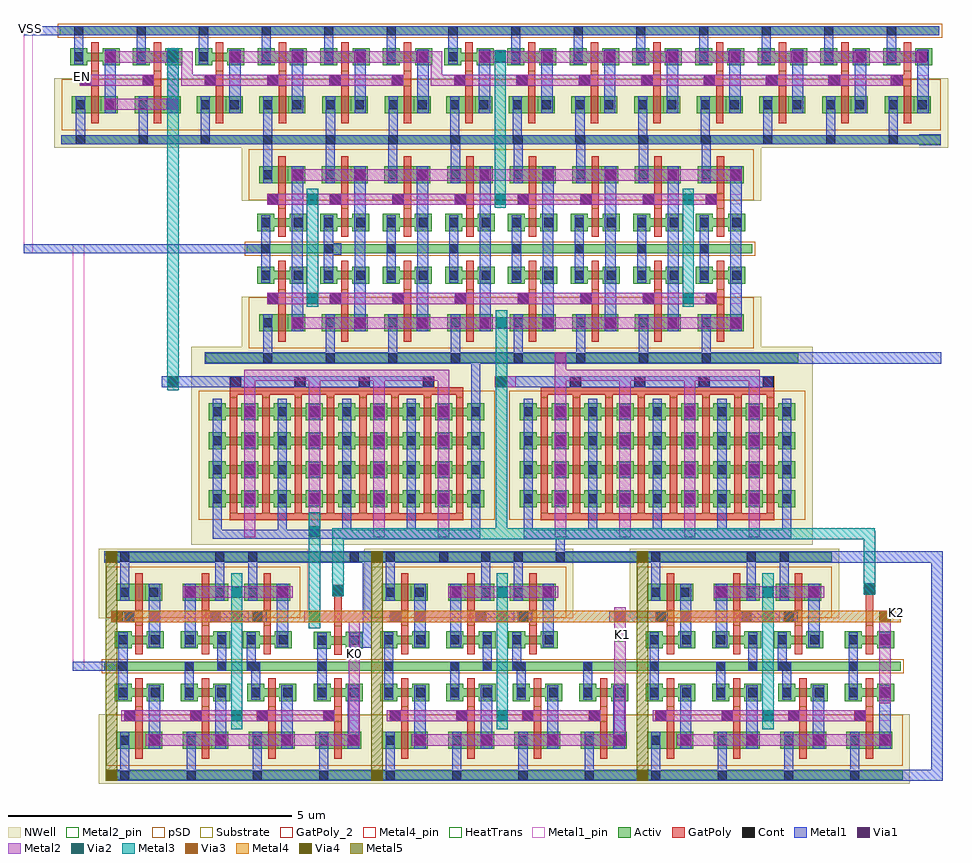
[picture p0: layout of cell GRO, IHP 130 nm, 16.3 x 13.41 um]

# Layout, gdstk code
from math import pi, radians
import gdstk
lib = gdstk.Library(unit=1e-6, precision=5e-09)
def R(c, l, rs):  # rectangles x0, y0, x1, y1
    for r in rs: c.add(gdstk.rectangle(r[:2], r[2:], *l))
def A(c, l, x, y, w, h, nx, ny, dx, dy):  # array of equal rectangles
    R(c, l, [(x+i*dx, y+j*dy, x+i*dx+w, y+j*dy+h) for i in range(nx) for j in range(ny)])
def P(c, l, *ps):  # polygons
    for p in ps: c.add(gdstk.Polygon(p, *l))
Activ = (1, 0)
GatPoly = (5, 0)
GatPoly_2 = (5, 2)
Cont = (6, 0)
Metal1 = (8, 0)
Metal1_pin = (8, 2)
Metal2 = (10, 0)
Metal2_pin = (10, 2)
pSD = (14, 0)
Via1 = (19, 0)
Via2 = (29, 0)
Metal3 = (30, 0)
NWell = (31, 0)
Substrate = (40, 0)
Via3 = (49, 0)
Metal4 = (50, 0)
Metal4_pin = (50, 2)
HeatTrans = (51, 0)
Via4 = (66, 0)
Metal5 = (67, 0)

pmos = lib.new_cell('pmos')
R(pmos, Activ, [(0,0,0.3,0.3), (0.57,0,0.87,0.3), (0,0.075,0.87,0.225)])
R(pmos, GatPoly, [(0.37,-0.105,0.5,0.405), (0.37,-0.105,0.5,0.405)])
R(pmos, Cont, [(0.07,0.07,0.23,0.23), (0.64,0.07,0.8,0.23)])
R(pmos, Metal1, [(0.07,0.02,0.23,0.28), (0.07,0.02,0.23,0.28), (0.64,0.02,0.8,0.28), (0.64,0.02,0.8,0.28)])
R(pmos, pSD, [(-0.18,-0.225,1.05,0.525)])
R(pmos, NWell, [(-0.31,-0.31,1.18,0.61)])
R(pmos, Substrate, [(0.57,0,0.87,0.3)])
R(pmos, HeatTrans, [(0.37,-0.105,0.5,0.405)])
pmos.add(gdstk.Label('pmos', (0.435,0.15), layer=63, texttype=0))
pmos.add(gdstk.Label('pmos', (0.435,0.15), layer=51, texttype=0))

m1_routed = lib.new_cell('M1_routed')
R(m1_routed, GatPoly, [(0.37,0.405,0.5,0.45)])
R(m1_routed, Metal1, [(0.07,-0.555,0.23,0.38), (0.62,0.02,0.82,0.28)])
R(m1_routed, Metal2, [(0.62,-0.53,0.82,0.895)])
R(m1_routed, Via1, [(0.625,0.055,0.815,0.245)])
m1_routed.add(gdstk.Reference(pmos, (0,0)))

m1_no_routed = lib.new_cell('M1_no_routed')
r = gdstk.Reference(m1_routed, (0,0)); r.repetition = gdstk.Repetition(4, 4, v1=(1.14,0), v2=(0,0.51)); m1_no_routed.add(r)
r = gdstk.Reference(m1_routed, (4.86,0), rotation=pi, x_reflection=True); r.repetition = gdstk.Repetition(4, 4, v1=(-1.14,0), v2=(0,0.51)); m1_no_routed.add(r)

m1_routings_gatevia = lib.new_cell('M1_routings_GateVia')
R(m1_routings_gatevia, GatPoly, [(0.68,2.42,0.88,2.62), (0.68,2.42,0.88,2.62)])
R(m1_routings_gatevia, Cont, [(0.685,2.425,0.875,2.615)])
R(m1_routings_gatevia, Metal1, [(0.705,2.44,0.86,2.6), (0.705,2.44,0.86,2.6)])

m1_4 = lib.new_cell('M1_4')
R(m1_4, Activ, [(0.27,-0.65,5.08,-0.49), (0.255,2.86,5.05,3.02)])
R(m1_4, GatPoly, [(0.68,0.075,4.8,0.205), (0.68,2.29,4.8,2.42)])
R(m1_4, Metal1, [(0.38,-0.245,5.1,-0.085), (0.705,2.42,4.265,2.62)])
R(m1_4, Metal2, [(0.93,2.535,4.55,2.735)])
R(m1_4, NWell, [(0,-0.35,5.48,0), (0,2.45,5.48,3.14)])
m1_4.add(gdstk.Reference(m1_no_routed, (0.31,0.31)))
r = gdstk.Reference(m1_routings_gatevia, (0,0)); r.repetition = gdstk.Repetition(4, 1, v1=(1.135,0), v2=(0,0)); m1_4.add(r)

nmos = lib.new_cell('nmos')
R(nmos, Activ, [(0,-0.05,0.3,0.25), (0.57,-0.05,0.87,0.25), (0,0.025,0.87,0.175)])
R(nmos, GatPoly, [(0.37,-0.155,0.5,0.355)])
R(nmos, GatPoly_2, [(0.37,-0.155,0.5,0.355)])
R(nmos, Cont, [(0.07,0.02,0.23,0.18), (0.64,0.02,0.8,0.18)])
R(nmos, Metal1, [(0.07,-0.03,0.23,0.23), (0.64,-0.03,0.8,0.23)])
R(nmos, Metal1_pin, [(0.07,-0.03,0.23,0.23), (0.64,-0.03,0.8,0.23)])
R(nmos, HeatTrans, [(0.37,-0.155,0.5,0.355)])
nmos.add(gdstk.Label('nmos', (0.435,0.1), layer=63, texttype=0))
nmos.add(gdstk.Label('nmos', (0.435,0.1), layer=51, texttype=0))

pmos_1 = lib.new_cell('pmos$1')
R(pmos_1, Activ, [(0,0,0.3,0.3), (0,0,0.81,0.3), (0.51,0,0.81,0.3)])
R(pmos_1, GatPoly, [(0.34,-0.18,0.47,0.48), (0.34,-0.18,0.47,0.48)])
R(pmos_1, Cont, [(0.07,0.07,0.23,0.23), (0.58,0.07,0.74,0.23)])
R(pmos_1, Metal1, [(0.07,0,0.23,0.3), (0.07,0,0.23,0.3), (0.58,0,0.74,0.3), (0.58,0,0.74,0.3)])
R(pmos_1, pSD, [(-0.18,-0.3,0.99,0.6)])
R(pmos_1, NWell, [(-0.31,-0.31,1.12,0.61)])
R(pmos_1, Substrate, [(0.51,0,0.81,0.3)])
R(pmos_1, HeatTrans, [(0.34,-0.18,0.47,0.48)])
pmos_1.add(gdstk.Label('pmos', (0.405,0.15), layer=63, texttype=0))
pmos_1.add(gdstk.Label('pmos', (0.405,0.15), layer=51, texttype=0))

inv_d1 = lib.new_cell('INV_D1')
R(inv_d1, Activ, [(-0.63,-1.05,0.545,-0.89), (-0.6,0.875,0.575,1.035)])
R(inv_d1, GatPoly, [(-0.075,-0.25,0.055,0.005), (-0.275,-0.195,-0.075,0.005)])
R(inv_d1, Cont, [(-0.375,-1.05,-0.215,-0.89), (-0.255,-0.175,-0.095,-0.015), (-0.345,0.875,-0.185,1.035)])
R(inv_d1, Metal1, [(-0.375,-1.05,-0.215,-0.635), (0.16,-0.635,0.36,0.485), (-0.255,-0.175,-0.095,-0.015), (-0.345,0.485,-0.185,1.035), (-0.6,0.875,0.575,1.035)])
R(inv_d1, Metal1_pin, [(-0.375,-1.05,-0.215,-0.89), (0.165,-0.185,0.355,-0.005), (-0.255,-0.175,-0.095,-0.015), (-0.345,0.875,-0.185,1.035)])
R(inv_d1, pSD, [(-0.67,-1.095,0.6,-0.845)])
R(inv_d1, NWell, [(-0.725,0.795,0.705,1.1)])
inv_d1.add(gdstk.Reference(nmos, (-0.445,-0.605)))
inv_d1.add(gdstk.Reference(pmos_1, (-0.415,0.185)))
inv_d1.add(gdstk.Label('VIN', (-0.145,-0.035), layer=8, texttype=2))
inv_d1.add(gdstk.Label('VSS', (-0.26,-0.915), layer=8, texttype=2))
inv_d1.add(gdstk.Label('VOUT', (0.305,-0.06), layer=8, texttype=2))

gro_routings_via1 = lib.new_cell('GRO_routings_Via1')
R(gro_routings_via1, Metal1, [(1.21,-3.09,1.41,-2.89)])
R(gro_routings_via1, Metal2, [(1.21,-3.09,1.41,-2.89)])
R(gro_routings_via1, Via1, [(1.215,-3.085,1.405,-2.895)])

c_x5 = lib.new_cell('x5')
R(c_x5, Activ, [(0.335,1.125,1.51,1.285)])
R(c_x5, Metal1, [(-0.8,-0.8,1.48,-0.64), (-0.77,1.125,1.51,1.285)])
R(c_x5, Metal2, [(-0.445,0.055,0.855,0.255), (-0.01,0.48,1.29,0.68)])
r = gdstk.Reference(inv_d1, (-0.17,0.25)); r.repetition = gdstk.Repetition(2, 1, v1=(1.105,0), v2=(0,0)); c_x5.add(r)
r = gdstk.Reference(gro_routings_via1, (-1.22,3.57)); r.repetition = gdstk.Repetition(2, 1, v1=(1.1,0), v2=(0,0)); c_x5.add(r)
r = gdstk.Reference(gro_routings_via1, (-1.22,3.57)); r.repetition = gdstk.Repetition(2, 1, v1=(1.1,0), v2=(0,0)); c_x5.add(r)
r = gdstk.Reference(gro_routings_via1, (-1.22,3.57)); r.repetition = gdstk.Repetition(2, 1, v1=(1.1,0), v2=(0,0)); c_x5.add(r)
r = gdstk.Reference(gro_routings_via1, (-1.22,3.57)); r.repetition = gdstk.Repetition(2, 1, v1=(1.1,0), v2=(0,0)); c_x5.add(r)
r = gdstk.Reference(gro_routings_via1, (-1.22,3.57)); r.repetition = gdstk.Repetition(2, 1, v1=(1.1,0), v2=(0,0)); c_x5.add(r)
r = gdstk.Reference(gro_routings_via1, (-1.22,3.57)); r.repetition = gdstk.Repetition(2, 1, v1=(1.1,0), v2=(0,0)); c_x5.add(r)
r = gdstk.Reference(gro_routings_via1, (-1.22,3.57)); r.repetition = gdstk.Repetition(2, 1, v1=(1.1,0), v2=(0,0)); c_x5.add(r)
r = gdstk.Reference(gro_routings_via1, (-1.22,3.57)); r.repetition = gdstk.Repetition(2, 1, v1=(1.1,0), v2=(0,0)); c_x5.add(r)
r = gdstk.Reference(gro_routings_via1, (-1.22,3.57)); r.repetition = gdstk.Repetition(2, 1, v1=(1.1,0), v2=(0,0)); c_x5.add(r)
r = gdstk.Reference(gro_routings_via1, (-1.22,3.57)); r.repetition = gdstk.Repetition(2, 1, v1=(1.1,0), v2=(0,0)); c_x5.add(r)
r = gdstk.Reference(gro_routings_via1, (-1.22,3.57)); r.repetition = gdstk.Repetition(2, 1, v1=(1.1,0), v2=(0,0)); c_x5.add(r)
r = gdstk.Reference(gro_routings_via1, (-1.655,3.145)); r.repetition = gdstk.Repetition(2, 1, v1=(1.105,0), v2=(0,0)); c_x5.add(r)

c_x8 = lib.new_cell('x8')
r = gdstk.Reference(inv_d1, (-3.785,1.725)); r.repetition = gdstk.Repetition(8, 1, v1=(1.105,0), v2=(0,0)); c_x8.add(r)
r = gdstk.Reference(inv_d1, (-3.785,-0.215), x_reflection=True); r.repetition = gdstk.Repetition(8, 1, v1=(1.105,0), v2=(0,0)); c_x8.add(r)

c_x7 = lib.new_cell('x7')
R(c_x7, Metal1, [(-1.05,-1.05,7.86,-0.89), (-1.02,0.875,7.89,1.035)])
r = gdstk.Reference(inv_d1, (-0.42,0)); r.repetition = gdstk.Repetition(8, 1, v1=(1.105,0), v2=(0,0)); c_x7.add(r)

c_x6 = lib.new_cell('x6')
R(c_x6, Metal1, [(-0.82,-1.14,3.67,-0.98), (-0.79,0.785,3.7,0.945)])
r = gdstk.Reference(inv_d1, (-0.19,-0.09)); r.repetition = gdstk.Repetition(4, 1, v1=(1.105,0), v2=(0,0)); c_x6.add(r)

c_x1 = lib.new_cell('x1')
c_x1.add(gdstk.Reference(inv_d1, (-0.605,0.11), rotation=pi, x_reflection=True))
c_x1.add(gdstk.Reference(inv_d1, (0.505,0.11)))

c_x2 = lib.new_cell('x2')
c_x2.add(gdstk.Reference(inv_d1, (-0.02,0.03)))

c_x3 = lib.new_cell('x3')
r = gdstk.Reference(inv_d1, (0.405,2.51)); r.repetition = gdstk.Repetition(4, 1, v1=(1.17,0), v2=(0,0)); c_x3.add(r)

gro_routings_stack_m1_m4 = lib.new_cell('GRO_routings_Stack_M1_M4')
R(gro_routings_stack_m1_m4, Metal1, [(0,0,0.2,0.2)])
R(gro_routings_stack_m1_m4, Metal2, [(0,0,0.2,0.2)])
R(gro_routings_stack_m1_m4, Via1, [(0.005,0.005,0.195,0.195)])
R(gro_routings_stack_m1_m4, Via2, [(0.005,0.005,0.195,0.195)])
R(gro_routings_stack_m1_m4, Metal3, [(0,0,0.2,0.2)])
R(gro_routings_stack_m1_m4, Via3, [(0.005,0.005,0.195,0.195)])

inv3 = lib.new_cell('INV3')
R(inv3, Metal1, [(-1.05,-2.52,3.635,-2.32), (0.795,0.28,1.79,0.48), (-1.05,1.33,2.385,1.53)])
R(inv3, Metal1_pin, [(-1.05,-2.5,-0.895,-2.34), (-1.05,-2.5,-0.895,-2.34), (-0.825,-0.575,-0.665,-0.415), (0.345,0.72,0.535,0.9), (1.975,0.725,2.165,0.905), (1.975,0.725,2.165,0.905), (-1.05,1.35,-0.895,1.51)])
R(inv3, Metal2, [(-0.34,-1.9,3.435,-1.7), (-0.775,-1.47,2.985,-1.27), (-0.285,0.28,1.47,0.48), (0.305,0.71,2.25,0.91)])
R(inv3, Metal2_pin, [(3.29,-1.9,3.435,-1.7)])
A(inv3, Via1, -0.285, -1.895, 0.19, 0.19, 4, 1, 1.17, 0)
A(inv3, Via1, -0.72, -1.465, 0.19, 0.19, 4, 1, 1.17, 0)
R(inv3, Via1, [(-0.285,0.285,-0.095,0.475), (1.165,0.285,1.355,0.475), (0.345,0.715,0.535,0.905), (1.975,0.715,2.165,0.905), (1.975,0.715,2.165,0.905)])
R(inv3, Via2, [(1.165,-1.465,1.355,-1.275), (1.165,0.71,1.355,0.9)])
R(inv3, Metal3, [(1.16,-1.61,1.36,1.14)])
R(inv3, Metal4, [(-1.05,-2.52,-0.85,-2.32), (-1.05,1.33,-0.85,1.53)])
R(inv3, Via4, [(-1.045,-2.515,-0.855,-2.325), (-1.045,1.335,-0.855,1.525)])
R(inv3, Metal5, [(-1.05,-2.52,-0.85,1.53)])
inv3.add(gdstk.Reference(c_x1, (1.305,0.365)))
inv3.add(gdstk.Reference(c_x2, (-0.43,0.445)))
inv3.add(gdstk.Reference(c_x3, (-0.855,1.045), x_reflection=True))
inv3.add(gdstk.Reference(gro_routings_stack_m1_m4, (-1.05,1.33)))
inv3.add(gdstk.Reference(gro_routings_stack_m1_m4, (-1.05,-2.52)))
inv3.add(gdstk.Label('VSS', (-0.705,-0.445), layer=8, texttype=2))
inv3.add(gdstk.Label('VIN', (-0.685,0.315), layer=8, texttype=2))
inv3.add(gdstk.Label('VOUT', (3.395,-1.735), layer=10, texttype=2))

gro_routings_m1_x8 = lib.new_cell('GRO_routings_M1_X8')
R(gro_routings_m1_x8, Metal1, [(-0.67,-0.29,-0.48,0.59)])

power_rail_wide = lib.new_cell('Power_Rail_Wide')

gro = lib.new_cell('GRO')
R(gro, GatPoly, [(3.5,-12.615,3.63,-12.09), (12.87,-12.605,13,-12.065), (3.46,-12.09,3.66,-11.89), (12.835,-12.065,13.035,-11.865)])
R(gro, Cont, [(3.47,-12.08,3.65,-11.9), (12.84,-12.06,13.03,-11.87), (3.77,-11.48,3.93,-11.32), (5.345,-11.48,5.505,-11.32), (7.405,-11.48,7.565,-11.32)])
R(gro, Metal1, [(13.5,-15.35,14.225,-15.15), (14.025,-15.35,14.225,-11.32), (13.11,-14.78,13.31,-13.66), (-1.115,-13.405,-0.15,-13.245), (3.2,-13.245,3.36,-13), (12.57,-13.245,12.73,-12.99), (3.77,-13,4,-12.74), (4,-13,4.16,-11.32), (13.11,-12.99,13.31,-12.73), (-0.435,-12.53,-0.03,-12.37), (3.465,-12.085,3.655,-11.895), (12.84,-12.06,13.03,-11.87), (-0.565,-11.5,14.225,-11.3), (7.405,-11.48,7.565,-10.915), (1.355,-10.98,1.515,-10.22), (11.395,-10.98,11.555,-10.22), (5.915,-8.61,6.075,-7.79), (0.45,-8.41,1.855,-8.21), (6.33,-8.41,8.045,-8.21), (1.21,-7.99,14.205,-7.79), (3.315,-6.065,3.62,-5.865), (-1.98,-6.045,2.37,-5.885), (13.81,-4.14,14.195,-3.94), (-1.98,-2.195,-1.345,-2.035)])
R(gro, Metal1_pin, [(-1.115,-13.405,-0.915,-5.885), (-1.98,-6.045,-1.82,-2.03), (-0.97,-3.07,-0.81,-2.91), (-1.98,-2.195,-1.82,-2.035)])
P(gro, Metal1_pin, [(-1.345,-2.035),(-1.345,-2.035),(-1.345,-2.035),(-1.345,-2.035)])
R(gro, Metal2, [(3.75,-14.73,3.95,-12.36), (8.435,-14.73,8.635,-12.285), (13.11,-13.98,13.31,-12.35), (2.97,-12.55,4.69,-12.35), (3.46,-12.09,3.66,-11.89), (12.835,-12.065,13.035,-11.865), (0.55,-8.41,0.75,-8.21), (6.33,-8.41,6.7,-8.21), (7.385,-8.095,7.585,-7.79), (2.745,-7.37,10.645,-7.17), (2.31,-6.94,10.21,-6.74), (2.31,-6.94,10.21,-6.74), (2.31,-5.19,10.21,-4.99), (2.745,-4.76,10.645,-4.56), (-0.99,-3.09,0.31,-2.89), (1.21,-3.09,4.71,-2.89), (1.21,-3.09,4.71,-2.89), (5.61,-3.09,13.51,-2.89), (-0.555,-2.68,0.745,-2.48), (1.645,-2.68,5.145,-2.48), (6.045,-2.68,7.145,-2.48), (7.145,-2.68,13.945,-2.48)])
R(gro, Metal2_pin, [(3.75,-13.195,3.95,-13.03), (8.435,-12.895,8.63,-12.705)])
R(gro, Via1, [(13.115,-13.885,13.305,-13.695), (13.115,-12.955,13.305,-12.765), (4.48,-12.55,4.67,-12.36), (8.44,-12.55,8.63,-12.36), (3.465,-12.085,3.655,-11.895), (12.84,-12.06,13.03,-11.87), (0.555,-8.405,0.745,-8.215), (6.35,-8.405,6.54,-8.215), (7.39,-7.985,7.58,-7.795)])
A(gro, Via2, 3.015, -5.185, 0.19, 0.19, 3, 1, 3.315, 0)
R(gro, Via2, [(3.05,-12.55,3.24,-12.36), (13.115,-12.545,13.305,-12.355), (3.465,-12.085,3.655,-11.895), (12.84,-12.06,13.03,-11.87), (3.05,-11.045,3.24,-10.855), (0.555,-8.405,0.745,-8.215), (6.35,-8.405,6.54,-8.215), (6.35,-7.365,6.54,-7.175), (3.015,-6.935,3.205,-6.745), (9.645,-6.935,9.835,-6.745), (6.33,-2.675,6.52,-2.485), (0.555,-2.67,0.745,-2.48)])
R(gro, Metal3, [(3.045,-12.655,3.245,-10.615), (13.11,-12.55,13.31,-12.35), (3.46,-12.095,3.66,-10.94), (12.835,-12.065,13.035,-10.94), (3.46,-11.09,6.35,-10.89), (6.345,-11.09,13.03,-10.89), (6.345,-11.09,6.545,-8.735), (6.345,-8.735,6.545,-7.05), (0.55,-8.46,0.75,-2.425), (3.01,-6.985,3.21,-4.905), (9.64,-6.985,9.84,-4.905), (6.325,-5.24,6.525,-2.46)])
R(gro, Via3, [(13.115,-12.545,13.305,-12.355)])
R(gro, Metal4, [(-0.435,-12.55,13.485,-12.35)])
R(gro, Metal4_pin, [(13.29,-12.55,13.485,-12.35)])
gro.add(gdstk.FlexPath([(4.69,-12.455),(4.475,-12.455)], 0.19, ends="flush", simple_path=True, layer=8, datatype=0))  # Metal1
gro.add(gdstk.FlexPath([(9.375,-12.455),(8.345,-12.455)], 0.19, ends="flush", simple_path=True, layer=8, datatype=0))  # Metal1
gro.add(gdstk.FlexPath([(0.745,-2.58),(0.9,-2.58),(0.9,-2.99),(1.215,-2.99)], 0.2, ends="flush", simple_path=True, layer=10, datatype=0))  # Metal2
gro.add(gdstk.FlexPath([(5.145,-2.58),(5.3,-2.58),(5.3,-2.99),(5.615,-2.99)], 0.2, ends="flush", simple_path=True, layer=10, datatype=0))  # Metal2
gro.add(gdstk.FlexPath([(5.145,-2.58),(5.3,-2.58),(5.3,-2.99),(5.615,-2.99)], 0.2, ends="flush", simple_path=True, layer=10, datatype=0))  # Metal2
gro.add(gdstk.Reference(m1_4, (0.975,-10.83)))
gro.add(gdstk.Reference(c_x5, (-0.545,-2.835), x_reflection=True))
gro.add(gdstk.Reference(c_x8, (6.37,-5.21), x_reflection=True))
gro.add(gdstk.Reference(c_x7, (6.305,-3.085), x_reflection=True))
gro.add(gdstk.Reference(c_x6, (1.675,-3.175), x_reflection=True))
gro.add(gdstk.Reference(m1_4, (11.935,-10.83), rotation=pi, x_reflection=True))
gro.add(gdstk.Reference(inv3, (9.885,-12.83)))
gro.add(gdstk.Reference(inv3, (5.2,-12.83)))
gro.add(gdstk.Reference(nmos, (3.13,-12.97)))
gro.add(gdstk.Reference(nmos, (12.5,-12.96)))
gro.add(gdstk.Reference(inv3, (0.515,-12.83)))
r = gdstk.Reference(gro_routings_via1, (0,0)); r.repetition = gdstk.Repetition(4, 1, v1=(1.1,0), v2=(0,0)); gro.add(r)
r = gdstk.Reference(gro_routings_via1, (4.4,0)); r.repetition = gdstk.Repetition(8, 1, v1=(1.1,0), v2=(0,0)); gro.add(r)
r = gdstk.Reference(gro_routings_via1, (1.1,-2.1)); r.repetition = gdstk.Repetition(8, 1, v1=(1.105,0), v2=(0,0)); gro.add(r)
r = gdstk.Reference(gro_routings_via1, (1.1,-3.85)); r.repetition = gdstk.Repetition(8, 1, v1=(1.105,0), v2=(0,0)); gro.add(r)
r = gdstk.Reference(gro_routings_via1, (-1.765,0.41)); r.repetition = gdstk.Repetition(14, 1, v1=(1.1,0), v2=(0,0)); gro.add(r)
r = gdstk.Reference(gro_routings_via1, (-1.765,0.41)); r.repetition = gdstk.Repetition(14, 1, v1=(1.1,0), v2=(0,0)); gro.add(r)
r = gdstk.Reference(gro_routings_via1, (-1.765,0.41)); r.repetition = gdstk.Repetition(14, 1, v1=(1.1,0), v2=(0,0)); gro.add(r)
r = gdstk.Reference(gro_routings_via1, (-1.765,0.41)); r.repetition = gdstk.Repetition(14, 1, v1=(1.1,0), v2=(0,0)); gro.add(r)
r = gdstk.Reference(gro_routings_via1, (-1.765,0.41)); r.repetition = gdstk.Repetition(14, 1, v1=(1.1,0), v2=(0,0)); gro.add(r)
r = gdstk.Reference(gro_routings_via1, (-1.765,0.41)); r.repetition = gdstk.Repetition(14, 1, v1=(1.1,0), v2=(0,0)); gro.add(r)
r = gdstk.Reference(gro_routings_via1, (-1.765,0.41)); r.repetition = gdstk.Repetition(14, 1, v1=(1.1,0), v2=(0,0)); gro.add(r)
r = gdstk.Reference(gro_routings_via1, (-1.765,0.41)); r.repetition = gdstk.Repetition(14, 1, v1=(1.1,0), v2=(0,0)); gro.add(r)
r = gdstk.Reference(gro_routings_via1, (-1.765,0.41)); r.repetition = gdstk.Repetition(14, 1, v1=(1.1,0), v2=(0,0)); gro.add(r)
r = gdstk.Reference(gro_routings_via1, (-1.765,0.41)); r.repetition = gdstk.Repetition(14, 1, v1=(1.1,0), v2=(0,0)); gro.add(r)
r = gdstk.Reference(gro_routings_via1, (-1.765,0.41)); r.repetition = gdstk.Repetition(14, 1, v1=(1.1,0), v2=(0,0)); gro.add(r)
r = gdstk.Reference(gro_routings_via1, (1.535,-1.67)); r.repetition = gdstk.Repetition(8, 1, v1=(1.105,0), v2=(0,0)); gro.add(r)
r = gdstk.Reference(gro_routings_via1, (1.535,-4.28)); r.repetition = gdstk.Repetition(8, 1, v1=(1.105,0), v2=(0,0)); gro.add(r)
r = gdstk.Reference(gro_routings_via1, (-2.2,0)); r.repetition = gdstk.Repetition(2, 1, v1=(1.105,0), v2=(0,0)); gro.add(r)
r = gdstk.Reference(gro_routings_m1_x8, (3.42,-6.105)); r.repetition = gdstk.Repetition(8, 1, v1=(1.105,0), v2=(0,0)); gro.add(r)
gro.add(gdstk.Reference(gro_routings_stack_m1_m4, (-0.435,-12.55)))
r = gdstk.Reference(power_rail_wide, (-1.53,-2.195)); r.repetition = gdstk.Repetition(9, 1, v1=(1.8,0), v2=(0,0)); gro.add(r)
gro.add(gdstk.Reference(power_rail_wide, (-1.58,-4.145)))
r = gdstk.Reference(power_rail_wide, (0.98,-6.065)); r.repetition = gdstk.Repetition(1, 1, v1=(0,0), v2=(0,0)); gro.add(r)
r = gdstk.Reference(power_rail_wide, (3.62,-6.065)); r.repetition = gdstk.Repetition(3, 1, v1=(1.8,0), v2=(0,0)); gro.add(r)
gro.add(gdstk.Reference(power_rail_wide, (10.07,-6.08)))
r = gdstk.Reference(power_rail_wide, (1.505,-4.14)); r.repetition = gdstk.Repetition(2, 1, v1=(1.8,0), v2=(0,0)); gro.add(r)
r = gdstk.Reference(power_rail_wide, (6.795,-4.14)); r.repetition = gdstk.Repetition(4, 1, v1=(1.8,0), v2=(0,0)); gro.add(r)
r = gdstk.Reference(power_rail_wide, (1.14,-8.41)); r.repetition = gdstk.Repetition(3, 1, v1=(1.5,0), v2=(0,0)); gro.add(r)
r = gdstk.Reference(power_rail_wide, (7.14,-8.41)); r.repetition = gdstk.Repetition(3, 1, v1=(1.5,0), v2=(0,0)); gro.add(r)
r = gdstk.Reference(power_rail_wide, (2.335,-13.425)); r.repetition = gdstk.Repetition(2, 1, v1=(1.8,0), v2=(0,0)); gro.add(r)
r = gdstk.Reference(power_rail_wide, (7.205,-13.42)); r.repetition = gdstk.Repetition(2, 1, v1=(1.8,0), v2=(0,0)); gro.add(r)
gro.add(gdstk.Label('VSS', (-1.86,-2.07), layer=8, texttype=2))
gro.add(gdstk.Label('EN', (-0.95,-2.925), layer=8, texttype=2))
gro.add(gdstk.Label('K1', (8.585,-12.77), layer=10, texttype=2))
gro.add(gdstk.Label('K0', (3.86,-13.095), layer=10, texttype=2))
gro.add(gdstk.Label('K2', (13.42,-12.385), layer=50, texttype=2))

lib.write_gds('GRO.gds')
